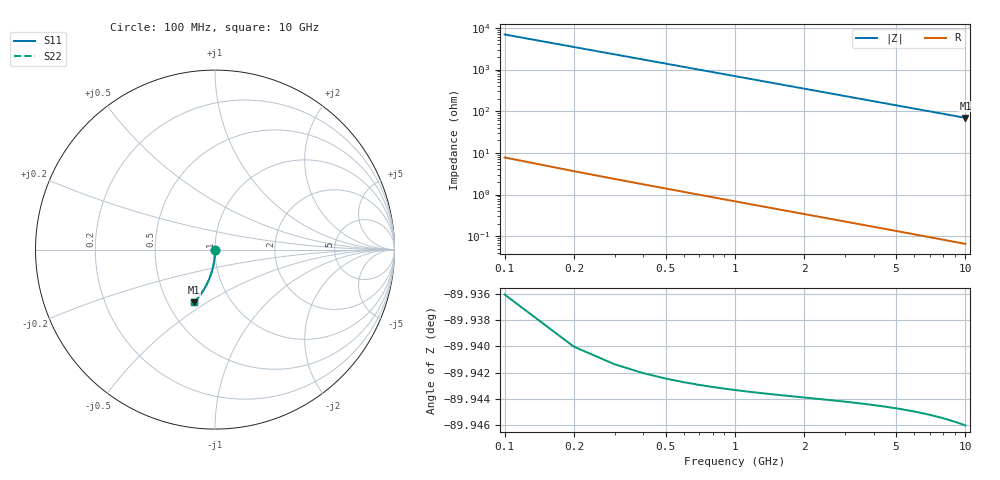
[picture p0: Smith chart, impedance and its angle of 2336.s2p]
# Hz S RI R 50.00
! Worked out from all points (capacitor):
!   100 points, 100 MHz to 10 GHz, reference 50 ohm
!   read as one part in shunt: C = 229 fF near 100 MHz
!   lowest |Z| = 69.3 ohm at 10 GHz (marker M1)
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1e8  9.9e-05 -0.00334  0.9999 -0.00387  0.9999 -0.00387  9.9e-05 -0.00334
2e8  5.75e-05 -0.00667  0.9998 -0.00774  0.9998 -0.00774  5.75e-05 -0.00667
3e8  -9.96e-06 -0.01  0.9998 -0.0116  0.9998 -0.0116  -9.96e-06 -0.01
4e8  -0.000103 -0.0133  0.9997 -0.0155  0.9997 -0.0155  -0.000103 -0.0133
5e8  -0.000223 -0.0167  0.9995 -0.0193  0.9995 -0.0193  -0.000223 -0.0167
6e8  -0.000368 -0.02  0.9994 -0.0232  0.9994 -0.0232  -0.000368 -0.02
7e8  -0.000538 -0.0233  0.9992 -0.0271  0.9992 -0.0271  -0.000538 -0.0233
8e8  -0.000735 -0.0267  0.999 -0.0309  0.999 -0.0309  -0.000735 -0.0267
9e8  -0.000957 -0.03  0.9988 -0.0348  0.9988 -0.0348  -0.000957 -0.03
1.1e9  -0.00148 -0.0366  0.9983 -0.0425  0.9983 -0.0425  -0.00148 -0.0366
1.4e9  -0.00245 -0.0466  0.9973 -0.0541  0.9973 -0.0541  -0.00245 -0.0466
1.8e9  -0.00411 -0.0598  0.9956 -0.0694  0.9956 -0.0694  -0.00411 -0.0598
2.1e9  -0.00562 -0.0697  0.9941 -0.0809  0.9941 -0.0809  -0.00562 -0.0697
2.5e9  -0.00799 -0.0828  0.9917 -0.0961  0.9917 -0.0961  -0.00799 -0.0828
2.9e9  -0.0108 -0.0958  0.9889 -0.1112  0.9889 -0.1112  -0.0108 -0.0958
3.4e9  -0.0148 -0.1118  0.9848 -0.13  0.9848 -0.13  -0.0148 -0.1118
4.2e9  -0.0224 -0.1371  0.9771 -0.1596  0.9771 -0.1596  -0.0224 -0.1371
5.1e9  -0.0328 -0.1647  0.9666 -0.192  0.9666 -0.192  -0.0328 -0.1647
5.9e9  -0.0435 -0.1885  0.9558 -0.2201  0.9558 -0.2201  -0.0435 -0.1885
6.7e9  -0.0555 -0.2113  0.9436 -0.2473  0.9436 -0.2473  -0.0555 -0.2113
8.4e9  -0.0849 -0.2566  0.9138 -0.3018  0.9138 -0.3018  -0.0849 -0.2566
1e10  -0.1166 -0.2946  0.8816 -0.3485  0.8816 -0.3485  -0.1166 -0.2946
